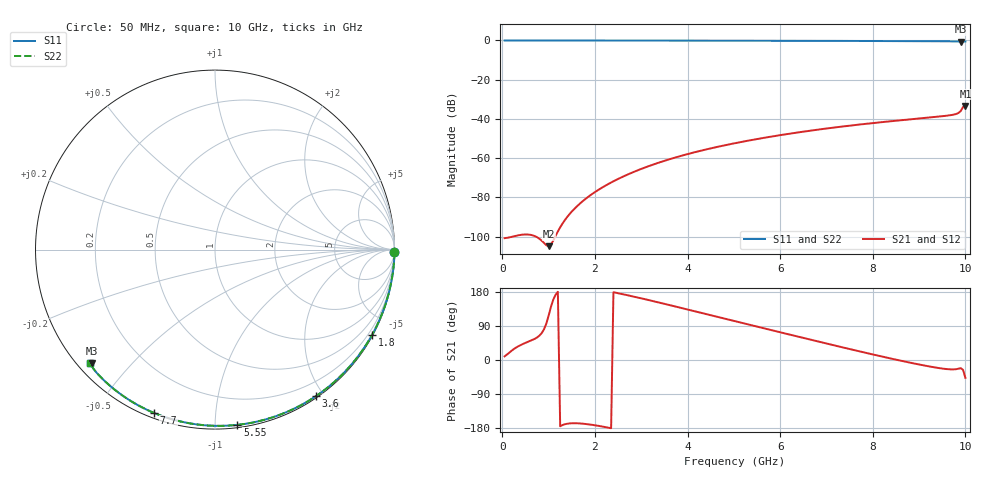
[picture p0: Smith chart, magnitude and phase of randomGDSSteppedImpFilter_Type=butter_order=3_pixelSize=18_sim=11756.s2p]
! freq	dB(S11)	phase(S11)	dB(S12)	phase(S12)
!  dB(S21)	phase(S21)	dB(S22)	phase(S22)
!S-par simulation data
#  GHz  S  DB  R 50
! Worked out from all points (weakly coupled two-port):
!   200 points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, 50 MHz to 10 GHz, reference 50 ohm
!   highest |S21| = -33.36 dB at 10 GHz (marker M1); lowest = -104.9 dB at 1 GHz (marker M2)
!   lowest |S11| = -0.6 dB at 9.9 GHz (marker M3), VSWR 29.63, Z = 1.94 - j19.5 ohm
!   |S11| at or under -10 dB: nowhere
!   |S22| runs from -0.6 to 0.0 dB; largest |S21 - S12| = 0
!   S11 on the Smith chart (normalised r, x): 50 MHz: open; 1.8 GHz: 0.03, -3.95; 3.6 GHz: 0.02, -1.90; 5.55 GHz: 0.02, -1.14; 7.7 GHz: 0.02, -0.69; 10 GHz: 0.03, -0.38
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0.05  -0.00 -0.8  -100.77 9.7  -100.77 9.7  -0.00 -0.8
1  -0.02 -15.9  -104.85 116.6  -104.85 116.6  -0.02 -15.9
1.75  -0.04 -27.6  -81.65 -168.2  -81.65 -168.2  -0.04 -27.6
1.8  -0.04 -28.4  -80.69 -168.9  -80.69 -168.9  -0.04 -28.4
1.85  -0.04 -29.2  -79.79 -169.6  -79.79 -169.6  -0.04 -29.2
2.15  -0.04 -33.8  -75.05 -175.3  -75.05 -175.3  -0.04 -33.8
2.55  -0.05 -39.9  -70.02 175.0  -70.02 175.0  -0.05 -39.9
2.95  -0.06 -45.9  -65.94 164.2  -65.94 164.2  -0.06 -45.9
3.4  -0.07 -52.5  -62.11 151.2  -62.11 151.2  -0.07 -52.5
3.6  -0.07 -55.5  -60.62 145.3  -60.62 145.3  -0.07 -55.5
4.3  -0.09 -65.5  -56.12 124.3  -56.12 124.3  -0.09 -65.5
5.05  -0.12 -76.0  -52.24 101.6  -52.24 101.6  -0.12 -76.0
5.55  -0.14 -82.8  -50.04 86.6  -50.04 86.6  -0.14 -82.8
6.7  -0.19 -97.8  -45.82 52.4  -45.82 52.4  -0.19 -97.8
7.7  -0.25 -110.5  -42.89 23.1  -42.89 23.1  -0.25 -110.5
8.35  -0.30 -118.5  -41.26 5.0  -41.26 5.0  -0.30 -118.5
9.65  -0.44 -134.4  -38.18 -24.5  -38.18 -24.5  -0.44 -134.4
9.8  -0.49 -136.4  -37.48 -24.2  -37.48 -24.2  -0.49 -136.4
9.85  -0.53 -137.0  -36.97 -23.0  -36.97 -23.0  -0.53 -137.0
9.9  -0.59 -137.3  -35.95 -21.6  -35.95 -21.6  -0.59 -137.4
9.95  -0.57 -137.4  -33.91 -26.0  -33.91 -26.0  -0.58 -137.4
10  -0.52 -137.9  -33.36 -47.2  -33.36 -47.2  -0.52 -137.9
